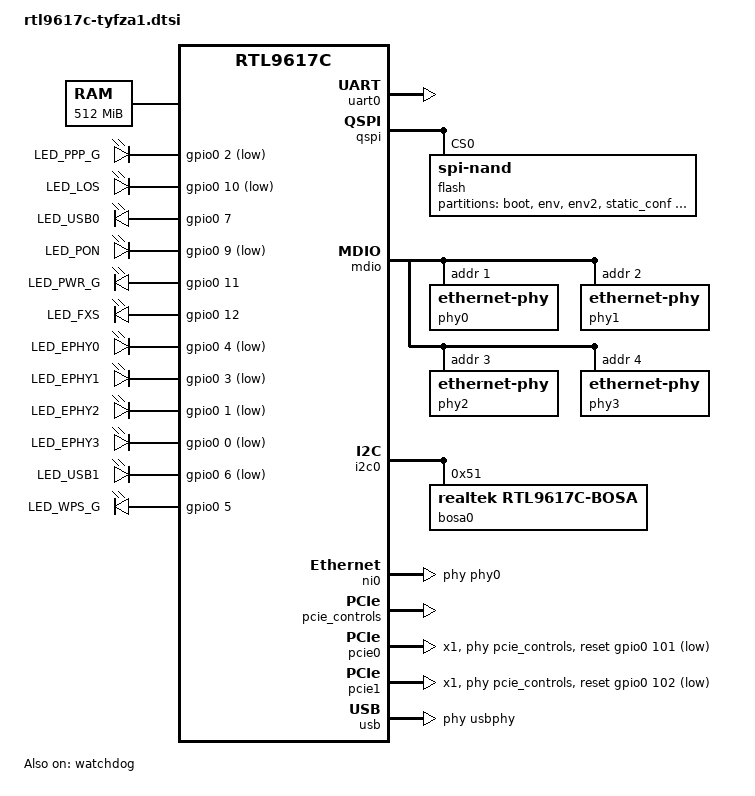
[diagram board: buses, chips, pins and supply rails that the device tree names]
// SPDX-License-Identifier: GPL-2.0-only
// Common board support for the RTL9617C reference-design gateways handled by
// this target (Tianyi TYFZA1 and YHTC PT1570-H10): stock reservations, UART,
// NAND + stock partitions, MDIO, NI/XRAM LAN, PON, PCIe, USB and the LED
// block. The front-panel buttons and the model string are board-specific and
// live in the including DTS files.
#include <dt-bindings/gpio/gpio.h>
#include <dt-bindings/input/input.h>
#include "rtl9617c.dtsi"

/ {
	aliases {
		serial0 = &uart0;
		led-boot = &led_power;
		led-failsafe = &led_power;
		led-running = &led_power;
		led-upgrade = &led_power;
		led-wps = &led_wps;
	};

	chosen {
		stdout-path = "serial0:115200n8";
		bootargs = "earlycon console=ttyS0,115200n8 loglevel=7 clk_ignore_unused maxcpus=4";
	};

	memory@0 {
		device_type = "memory";
		reg = <0 0 0 0x20000000>;
	};

	// Keep every stock reservation until live firmware/BL31 evidence proves
	// it can be released. No VoIP driver is enabled.
	reserved-memory {
		#address-cells = <2>;
		#size-cells = <2>;
		ranges;
		voip-vector@0 {
			reg = <0 0 0 0x1000>;
			no-map;
		};
		voip@2000000 {
			reg = <0 0x02000000 0 0x00300000>;
			no-map;
		};
		voip-ipc@2300000 {
			reg = <0 0x02300000 0 0x00100000>;
			no-map;
		};
		ddr-noncache@9000000 {
			reg = <0 0x09000000 0 0x01a50000>;
		};
		ddr-cache@bc48000 {
			reg = <0 0x0bc48000 0 0x10000>;
		};
		tz-smc@eeff000 {
			reg = <0 0x0eeff000 0 0x1000>;
			no-map;
		};
		tz@ffc0000 {
			reg = <0 0x0ffc0000 0 0x40000>;
		};
	};

	leds {
		compatible = "tianyi,tyfza1-leds";
		internet { label = "LED_PPP_G"; gpios = <&gpio0 2 GPIO_ACTIVE_LOW>; };
		los { label = "LED_LOS"; gpios = <&gpio0 10 GPIO_ACTIVE_LOW>; };
		usb0 { label = "LED_USB0"; gpios = <&gpio0 7 GPIO_ACTIVE_HIGH>; };
		pon { label = "LED_PON"; gpios = <&gpio0 9 GPIO_ACTIVE_LOW>; };
		led_power: power { label = "LED_PWR_G"; gpios = <&gpio0 11 GPIO_ACTIVE_HIGH>; default-state = "on"; };
		phone { label = "LED_FXS"; gpios = <&gpio0 12 GPIO_ACTIVE_HIGH>; };
		lan0 { label = "LED_EPHY0"; gpios = <&gpio0 4 GPIO_ACTIVE_LOW>; };
		lan1 { label = "LED_EPHY1"; gpios = <&gpio0 3 GPIO_ACTIVE_LOW>; };
		lan2 { label = "LED_EPHY2"; gpios = <&gpio0 1 GPIO_ACTIVE_LOW>; };
		lan3 { label = "LED_EPHY3"; gpios = <&gpio0 0 GPIO_ACTIVE_LOW>; };
		usb1 { label = "LED_USB1"; gpios = <&gpio0 6 GPIO_ACTIVE_LOW>; };
		led_wps: wps { label = "LED_WPS_G"; gpios = <&gpio0 5 GPIO_ACTIVE_HIGH>; };
	};
};

&uart0 {
	status = "okay";
};

// Values and wiring from the identified TYFZA1 DTB, not another Taurus board.
&watchdog {
	reset-on-timeout;
	delay-reset = <134>;
	status = "okay";
};

// Layout from the CRC-verified TYFZA1 environment and zero-entry factory
// BBLs. The writable UBI partition set replaces the stock read-only policy
// so the storage migration can reclaim the OEM volumes.
&qspi {
	status = "okay";
	flash@0 {
		compatible = "spi-nand";
		reg = <0>;
		spi-tx-bus-width = <1>;
		spi-rx-bus-width = <1>;
		partitions {
			compatible = "fixed-partitions";
			#address-cells = <1>;
			#size-cells = <1>;
			partition@0 {
				label = "boot";
				reg = <0x0 0x200000>;
			};
			partition@280000 {
				label = "env";
				reg = <0x280000 0x40000>;
			};
			partition@2c0000 {
				label = "env2";
				reg = <0x2c0000 0x40000>;
			};
			partition@300000 {
				label = "static_conf";
				reg = <0x300000 0x40000>;
				read-only;
			};
			partition@340000 {
				label = "ubi_device";
				reg = <0x340000 0xf5c0000>;
			};
		};
	};
};

&mdio {
	status = "okay";
	phy0: ethernet-phy@1 { reg = <1>; };
	phy1: ethernet-phy@2 { reg = <2>; };
	phy2: ethernet-phy@3 { reg = <3>; };
	phy3: ethernet-phy@4 { reg = <4>; };
};

&i2c0 {
	status = "okay";
	bosa0: optical-front-end@51 {
		compatible = "realtek,rtl9617c-bosa";
		reg = <0x51>;
	};
};

&{/soc} {
	ni0: ethernet@4f4300000 {
		compatible = "realtek,rtl9617c-xram-eth";
		reg = <4 0xf4300000 0 0x10000>, <0 0xf4500000 0 0x2000>,
		      <4 0xf7001000 0 0x1000>, <4 0xf432d000 0 0x1000>,
		      <4 0xf4320098 0 4>, <4 0xf432f000 0 0x1000>;
		reg-names = "ni", "xram", "dma-lso", "qm-axi-reorder", "block-reset",
			    "l3fe-axi-reorder";
		realtek,port = <0>;
		phy-handle = <&phy0>;
		realtek,dma-tx;
		realtek,qm-rx;
		/* Do NOT reverse realtek,lan-phys or phy-handle here.
		 *
		 * A MAC port and its PHY are wired together on the board: port 0 can only
		 * talk to phy0 (mdio:01), port 3 only to phy3 (mdio:04). Pointing
		 * phy-handle at phy3 makes port 0 negotiate a link with the wrong PHY -
		 * the link comes up at 1 Gbps and the bridge puts the port in forwarding,
		 * but rx_packets stays at 0 because the data path never connects.
		 * Reversing only realtek,lan-phys is worse still: port 0 keeps phy-handle
		 * (phy0) and port 3 also gets phy0, so phy_attach_direct() fails with
		 * -EEXIST and LAN4 never registers.
		 *
		 * The panel order is therefore fixed by hardware: Linux lan1 is the jack
		 * silkscreened LAN4. Renaming the interfaces would need a driver change,
		 * not a device-tree change. */
		realtek,lan-phys = <&phy0 &phy1 &phy2 &phy3>;
		interrupts = <GIC_SPI 84 IRQ_TYPE_LEVEL_HIGH>;
	};

	gpio0: gpio@4f43292c0 {
		compatible = "realtek,rtl9617c-gpio";
		reg = <4 0xf43292c0 0 0xb4>;
		gpio-controller;
		#gpio-cells = <2>;
		gpio-ranges = <&pinctrl 0 0 160>;
	};

	ne_irq: interrupt-controller@f4320164 {
		compatible = "realtek,rtl9617c-per-ictl", "cortina,per-ictl";
		reg = <0 0xf4320164 0 0x10>;
		interrupt-controller;
		#interrupt-cells = <1>;
		#address-cells = <0>;
		interrupt-parent = <&gic>;
		interrupts = <GIC_SPI 1 IRQ_TYPE_LEVEL_HIGH>;
	};

	pon@4f5500000 {
		compatible = "realtek,rtl9617c-pon";
		realtek,network-engine = <&ni0>;
		realtek,optical-front-end = <&bosa0>;
		tx-disable-gpios = <&gpio0 15 GPIO_ACTIVE_HIGH>;
		reg = <4 0xf5500000 0 0xc000>, <4 0xf4320094 0 4>,
		      <4 0xf4320074 0 4>, <4 0xf432022c 0 4>,
		      <4 0xf4320080 0 8>, <4 0xf4320090 0 4>, <4 0xf4320180 0 8>, <4 0xf432007c 0 4>,
		      <4 0xf4329440 0 0x10>;
		reg-names = "mac", "control", "epon-control", "serdes-init", "optical-control", "optical-status", "top-irq", "gpon-control", "dying-gasp";
		interrupts-extended = <&ne_irq 5>, <&per_ictl 24>;
		interrupt-names = "pon", "dying-gasp";
		realtek,burst-polarity = <0>;
		realtek,los-invert = <0>;
	};

	pcie_controls: pcie-controls@f4320098 {
		compatible = "realtek,rtl9617c-pcie-controls";
		reg = <0 0xf4320098 0 4>, <0 0xf43200a0 0 4>,
		      <0 0xf43200c4 0 0x14>, <0 0xf432036c 0 4>, <0 0xf432009c 0 4>,
		      <4 0xf433b000 0 0x1000>, <0 0xf4600000 0 0x1000>;
		reg-names = "core-reset", "phy-reset", "phy-control", "power", "usb-reset",
			    "sgmii-analog", "sgmii-serdes";
		realtek,global-config = <&global_config>;
		#clock-cells = <1>;
		#reset-cells = <1>;
		#phy-cells = <1>;
	};

	pcie0: pcie@f4325000 {
		compatible = "realtek,rtl9617c-pcie";
		reg = <0 0xf4325000 0 0x400>,
		      <0 0xa0000000 0 0x1000>,
		      <0 0xa0001000 0 0x2000>,
		      <0 0xa0300000 0 0x100000>,
		      <0 0xf4333000 0 0x2000>,
		      <0x0 0xf432c000 0x0 0x1c>;
		reg-names = "global", "dbi", "config", "atu", "serdes", "coherent-atu";
		device_type = "pci";
		#address-cells = <3>;
		#size-cells = <2>;
		bus-range = <0 255>;
		linux,pci-domain = <0>;
		ranges = <0x81000000 0x0 0x0 0x0 0xa0003000 0x0 0x10000 0x82000000 0x0 0xa0400000 0x0 0xa0400000 0x0 0xfc00000>;
		dma-ranges = <0x02000000 0 0 0 0 0 0x20000000>;
		dma-coherent;
		interrupts = <0 42 4>;
		interrupt-names = "wrapper";
		#interrupt-cells = <1>;
		interrupt-map-mask = <0 0 0 7>;
		interrupt-map = <0 0 0 1 &pcie0_intc 0>,
				<0 0 0 2 &pcie0_intc 1>,
				<0 0 0 3 &pcie0_intc 2>,
				<0 0 0 4 &pcie0_intc 3>;
		clocks = <&pcie_controls 0>;
		resets = <&pcie_controls 0>, <&pcie_controls 2>;
		reset-names = "core", "phy";
		phys = <&pcie_controls 0>;
		phy-names = "pcie";
		reset-gpios = <&gpio0 101 GPIO_ACTIVE_LOW>; // stock bank3,pin5
		reset-delay-ms = <150>;
		num-lanes = <1>;
		realtek,controller-index = <0>;
		realtek,ddr-bytes = <0x20000000>;
		realtek,coherent-hi-addr = <4>;
		// Taurus GPL uses the B/default branch; verify cut on first board bring-up.
		realtek,serdes-profile = "B";
		serdes-cfg-dataA = <
			0x4 0xa855 0x18 0xa 0x20 0x3591 0x28 0x8670
			0x2c 0xb90d 0x34 0xf71a 0x38 0x1000 0x74 0xda1f
			0x80 0xd477 0x88 0x23 0x8c 0xb66 0x90 0x4f30
			0xa0 0xf802 0xc0 0x55 0x24 0x500c 0x24 0x520c
			0x104 0xa84a 0x118 0xa 0x120 0x3591 0x128 0x8650
			0x12c 0xb90d 0x134 0xf71a 0x138 0x1000 0x174 0xda1f
			0x180 0xd477 0x184 0x55aa 0x188 0x23 0x18c 0xb66
			0x1a0 0xf802 0x1bc 0x3900 0x1c0 0x4a 0x124 0x500c
			0x124 0x520c
		>;
		serdes-cfg-dataB = <
			0x4 0xa855 0x8 0x60c6 0x18 0x1f 0x20 0x3591
			0x28 0xf670 0x2c 0xa90d 0x34 0xf71a 0x38 0x1000
			0x74 0xda1f 0x80 0xd477 0x88 0x23 0x8c 0xb66
			0x90 0x4f30 0xa0 0xf802 0xc0 0x55 0xc8 0xf0f3
			0x24 0x500c 0x24 0x520c 0x104 0xa84a 0x108 0x60c6
			0x118 0x1f 0x120 0x3591 0x128 0xf670 0x12c 0xa90d
			0x134 0xf71a 0x138 0x1000 0x174 0xda1f 0x180 0xd479
			0x184 0x55aa 0x188 0x23 0x18c 0xb66 0x190 0x4f0c
			0x1a0 0xf802 0x1bc 0x3900 0x1c0 0x4a 0x1c8 0xf0f3
			0x124 0x500c 0x124 0x520c
		>;
		pcie0_intc: interrupt-controller {
			interrupt-controller;
			#address-cells = <0>;
			#interrupt-cells = <1>;
		};
	};

	pcie1: pcie@f4326000 {
		compatible = "realtek,rtl9617c-pcie";
		reg = <0 0xf4326000 0 0x400>,
		      <0 0xb0000000 0 0x1000>,
		      <0 0xb0001000 0 0x2000>,
		      <0 0xb0300000 0 0x100000>,
		      <0 0xf4335000 0 0x2000>,
		      <0x0 0xf432c100 0x0 0x1c>;
		reg-names = "global", "dbi", "config", "atu", "serdes", "coherent-atu";
		device_type = "pci";
		#address-cells = <3>;
		#size-cells = <2>;
		bus-range = <0 255>;
		linux,pci-domain = <1>;
		ranges = <0x81000000 0x0 0x0 0x0 0xb0003000 0x0 0x10000 0x82000000 0x0 0xb0400000 0x0 0xb0400000 0x0 0xfc00000>;
		dma-ranges = <0x02000000 0 0 0 0 0 0x20000000>;
		dma-coherent;
		interrupts = <0 46 4>;
		interrupt-names = "wrapper";
		#interrupt-cells = <1>;
		interrupt-map-mask = <0 0 0 7>;
		interrupt-map = <0 0 0 1 &pcie1_intc 0>,
				<0 0 0 2 &pcie1_intc 1>,
				<0 0 0 3 &pcie1_intc 2>,
				<0 0 0 4 &pcie1_intc 3>;
		clocks = <&pcie_controls 1>;
		resets = <&pcie_controls 1>, <&pcie_controls 3>;
		reset-names = "core", "phy";
		phys = <&pcie_controls 2>;
		phy-names = "pcie";
		reset-gpios = <&gpio0 102 GPIO_ACTIVE_LOW>; // stock bank3,pin6
		reset-delay-ms = <50>;
		num-lanes = <1>;
		realtek,controller-index = <1>;
		realtek,ddr-bytes = <0x20000000>;
		realtek,coherent-hi-addr = <4>;
		// Taurus GPL uses the B/default branch; verify cut on first board bring-up.
		realtek,serdes-profile = "B";
		serdes-cfg-dataA = <
			0x4 0xa855 0x18 0xa 0x20 0x3591 0x28 0x8670
			0x2c 0xb90d 0x34 0xf71a 0x38 0x1000 0x74 0xda1f
			0x80 0xd477 0x88 0x23 0x8c 0xb66 0x90 0x4f30
			0xa0 0xf802 0xc0 0x55 0x24 0x500c 0x24 0x520c
			0x104 0xa84a 0x118 0xa 0x120 0x3591 0x128 0x8650
			0x12c 0xb90d 0x134 0xf71a 0x138 0x1000 0x174 0xda1f
			0x180 0xd477 0x184 0x55aa 0x188 0x23 0x18c 0xb66
			0x1a0 0xf802 0x1bc 0x3900 0x1c0 0x4a 0x124 0x500c
			0x124 0x520c
		>;
		serdes-cfg-dataB = <
			0x4 0xa855 0x8 0x60c6 0x18 0x1f 0x20 0x3591
			0x28 0xf670 0x2c 0xa90d 0x34 0xf71a 0x38 0x1000
			0x74 0xda1f 0x80 0xd477 0x88 0x23 0x8c 0xb66
			0x90 0x4f30 0xa0 0xf802 0xc0 0x55 0xc8 0xf0f3
			0x24 0x500c 0x24 0x520c 0x104 0xa84a 0x108 0x60c6
			0x118 0x1f 0x120 0x3591 0x128 0xf670 0x12c 0xa90d
			0x134 0xf71a 0x138 0x1000 0x174 0xda1f 0x180 0xd479
			0x184 0x55aa 0x188 0x23 0x18c 0xb66 0x190 0x4f0c
			0x1a0 0xf802 0x1bc 0x3900 0x1c0 0x4a 0x1c8 0xf0f3
			0x124 0x500c 0x124 0x520c
		>;
		pcie1_intc: interrupt-controller {
			interrupt-controller;
			#address-cells = <0>;
			#interrupt-cells = <1>;
		};
	};

	// USB wiring and calibration from TYFZA1 stock conf-1/fdt@1.
	usbphy: usb-phy@f432b020 {
		compatible = "realtek,rtl9617c-usb-phy";
		reg = <0 0xf432b020 0 0x18>, <0 0xf432b000 0 0x20>,
		      <0 0xf432b04c 0 0x10>, <0 0xf4337000 0 0x1000>,
		      <0 0xf432c500 0 0x1c>;
		reg-names = "usb2", "usb3", "extension", "serdes", "atu";
		#phy-cells = <0>;
		phys = <&pcie_controls 4>;
		phy-names = "lane";
		resets = <&pcie_controls 4>, <&pcie_controls 5>;
		reset-names = "core", "port1";
		vbus-gpios = <&gpio0 100 GPIO_ACTIVE_HIGH>;
		realtek,usb2-addresses = [e0 e2 e4 e7 f4 e7 f4 e0 e0 e0];
		realtek,usb2-values-a = [1f f9 68 71 db 44 bb 25 21 25];
		realtek,usb3-addresses-a = [01 04 05 08 09 0a 0b 0d 0e 20 21 22 23 27 2b 33];
		realtek,usb3-values-a = /bits/ 16 <0xaccc 0x7000 0x6313 0x30d1 0x424c 0xa610 0xb905 0xef2e 0x1000 0x705e 0xf8e8 0x0003 0x0b66 0x0241 0x0038 0x0001>;
		realtek,usb2-values-b = [1f f9 6b 71 db 43 bb 26 22 26];
		realtek,usb3-addresses-b = [01 04 05 08 09 0a 0b 0d 0e 20 21 22 23 27 2b 33 09 09 09];
		realtek,usb3-values-b = /bits/ 16 <0xaccc 0x7000 0x6313 0x30d1 0x424c 0xc610 0xa905 0xef2e 0x1000 0x705e 0xf8e8 0x0003 0x0b66 0x0241 0x0038 0x0001 0x424c 0x404c 0x424c>;
	};

	usb: usb@f0200000 {
		compatible = "generic-xhci";
		reg = <0 0xf0200000 0 0x80000>;
		interrupts = <GIC_SPI 66 IRQ_TYPE_LEVEL_HIGH>;
		phys = <&usbphy>;
		phy-names = "usb";
	};
};
